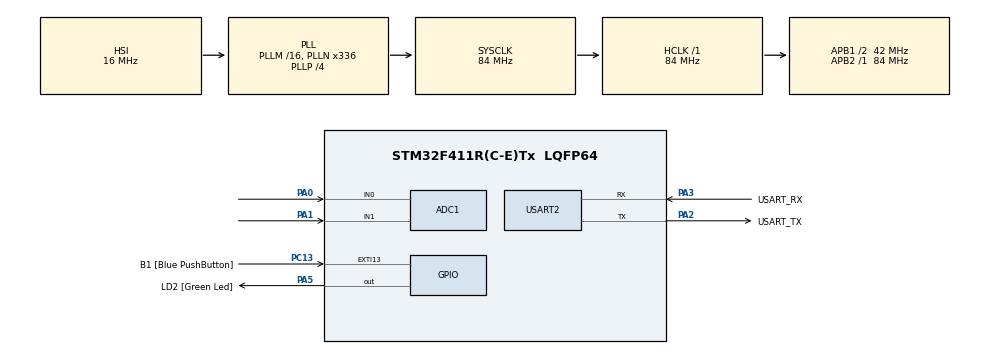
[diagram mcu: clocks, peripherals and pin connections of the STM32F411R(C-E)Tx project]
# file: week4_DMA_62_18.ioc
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ADC1.Channel-0\#ChannelRegularConversion=ADC_CHANNEL_0
ADC1.Channel-1\#ChannelRegularConversion=ADC_CHANNEL_1
ADC1.Channel-2\#ChannelRegularConversion=ADC_CHANNEL_TEMPSENSOR
ADC1.Channel-3\#ChannelRegularConversion=ADC_CHANNEL_VREFINT
ADC1.ContinuousConvMode=ENABLE
ADC1.DMAContinuousRequests=ENABLE
ADC1.NbrOfConversion=4
ADC1.NbrOfConversionFlag=1
ADC1.Rank-0\#ChannelRegularConversion=1
ADC1.Rank-1\#ChannelRegularConversion=2
ADC1.Rank-2\#ChannelRegularConversion=3
ADC1.Rank-3\#ChannelRegularConversion=4
ADC1.SamplingTime-0\#ChannelRegularConversion=ADC_SAMPLETIME_28CYCLES
ADC1.SamplingTime-1\#ChannelRegularConversion=ADC_SAMPLETIME_28CYCLES
ADC1.SamplingTime-2\#ChannelRegularConversion=ADC_SAMPLETIME_28CYCLES
ADC1.SamplingTime-3\#ChannelRegularConversion=ADC_SAMPLETIME_28CYCLES
ADC1.ScanConvMode=ENABLE
ADC1.master=1
Dma.ADC1.0.Direction=DMA_PERIPH_TO_MEMORY
Dma.ADC1.0.FIFOMode=DMA_FIFOMODE_DISABLE
Dma.ADC1.0.Instance=DMA2_Stream0
Dma.ADC1.0.MemDataAlignment=DMA_MDATAALIGN_WORD
Dma.ADC1.0.MemInc=DMA_MINC_ENABLE
Dma.ADC1.0.Mode=DMA_CIRCULAR
Dma.ADC1.0.PeriphDataAlignment=DMA_PDATAALIGN_WORD
Dma.ADC1.0.PeriphInc=DMA_PINC_DISABLE
Dma.ADC1.0.Priority=DMA_PRIORITY_LOW
Dma.Request0=ADC1
Mcu.Family=STM32F4
Mcu.Name=STM32F411R(C-E)Tx
Mcu.Package=LQFP64
NVIC.DMA2_Stream0_IRQn=true\:0\:0\:false\:false\:true\:false\:true
NVIC.EXTI15_10_IRQn=true\:0\:0\:false\:false\:true\:true\:true
NVIC.PriorityGroup=NVIC_PRIORITYGROUP_0
PA0-WKUP.Signal=ADCx_IN0
PA1.Signal=ADCx_IN1
PA13.GPIO_Label=TMS
PA13.Mode=Serial_Wire
PA13.Signal=SYS_JTMS-SWDIO
PA14.GPIO_Label=TCK
PA14.Mode=Serial_Wire
PA14.Signal=SYS_JTCK-SWCLK
PA2.GPIO_Label=USART_TX
PA2.Mode=Asynchronous
PA2.Signal=USART2_TX
PA3.GPIO_Label=USART_RX
PA3.Mode=Asynchronous
PA3.Signal=USART2_RX
PA5.GPIO_Label=LD2 [Green Led]
PA5.Signal=GPIO_Output
PB3.GPIO_Label=SWO
PB3.Signal=SYS_JTDO-SWO
PC13-ANTI_TAMP.GPIO_Label=B1 [Blue PushButton]
PC13-ANTI_TAMP.GPIO_ModeDefaultEXTI=GPIO_MODE_IT_RISING_FALLING
PC13-ANTI_TAMP.GPIO_PuPd=GPIO_PULLUP
PC13-ANTI_TAMP.Signal=GPXTI13
PC14-OSC32_IN.Mode=LSE-External-Oscillator
PC14-OSC32_IN.Signal=RCC_OSC32_IN
PC15-OSC32_OUT.Mode=LSE-External-Oscillator
PC15-OSC32_OUT.Signal=RCC_OSC32_OUT
PH0\ -\ OSC_IN.Mode=HSE-External-Clock-Source
PH0\ -\ OSC_IN.Signal=RCC_OSC_IN
PH1\ -\ OSC_OUT.Mode=HSE-External-Clock-Source
PH1\ -\ OSC_OUT.Signal=RCC_OSC_OUT
ProjectManager.HeapSize=0x200
ProjectManager.StackSize=0x400
ProjectManager.TargetToolchain=STM32CubeIDE
RCC.48MHZClocksFreq_Value=84000000
RCC.AHBFreq_Value=84000000
RCC.APB1CLKDivider=RCC_HCLK_DIV2
RCC.APB1Freq_Value=42000000
RCC.APB1TimFreq_Value=84000000
RCC.APB2Freq_Value=84000000
RCC.APB2TimFreq_Value=84000000
RCC.CortexFreq_Value=84000000
RCC.FLatency-AdvancedSettings=FLASH_LATENCY_2
RCC.HCLKFreq_Value=84000000
RCC.HSE_VALUE=8000000
RCC.HSI_VALUE=16000000
RCC.PLLN=336
RCC.PLLP=RCC_PLLP_DIV4
RCC.SYSCLKFreq_VALUE=84000000
RCC.SYSCLKSource=RCC_SYSCLKSOURCE_PLLCLK
RCC.VCOOutputFreq_Value=336000000
SH.ADCx_IN0.0=ADC1_IN0,IN0
SH.ADCx_IN1.0=ADC1_IN1,IN1
USART2.VirtualMode=VM_ASYNC
VP_ADC1_TempSens_Input.Mode=IN-TempSens
VP_ADC1_Vref_Input.Mode=IN-Vrefint
board=NUCLEO-F411RE

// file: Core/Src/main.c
/* USER CODE BEGIN Header */
/**
  ******************************************************************************
  * @file           : main.c
  * @brief          : Main program body
  ******************************************************************************
  * @attention
  *
  * <h2><center>&copy; Copyright (c) 2021 STMicroelectronics.
  * All rights reserved.</center></h2>
  *
  * This software component is licensed by ST under BSD 3-Clause license,
  * the "License"; You may not use this file except in compliance with the
  * License. You may obtain a copy of the License at:
  *                        opensource.org/licenses/BSD-3-Clause
  *
  ******************************************************************************
  */
/* USER CODE END Header */
#include "main.h"

ADC_HandleTypeDef hadc1;
DMA_HandleTypeDef hdma_adc1;

UART_HandleTypeDef huart2;

/* USER CODE BEGIN PV */
uint32_t ADCData[4]={0};
uint8_t PressButton = 0;
uint32_t Random = 0;
uint32_t TimePushButton = 0;
uint32_t TimePing = 0;
uint32_t TimeStamp = 0;
uint32_t TimeRespond = 0;
uint8_t i = 0;
/* USER CODE END PV */

void SystemClock_Config(void);
static void MX_GPIO_Init(void);
static void MX_DMA_Init(void);
static void MX_USART2_UART_Init(void);
static void MX_ADC1_Init(void);

int main(void)
{

  /* MCU Configuration--------------------------------------------------------*/

  /* Reset of all peripherals, Initializes the Flash interface and the Systick. */
  HAL_Init();

  /* Configure the system clock */
  SystemClock_Config();

  /* Initialize all configured peripherals */
  MX_GPIO_Init();
  MX_DMA_Init();
  MX_USART2_UART_Init();
  MX_ADC1_Init();
  /* USER CODE BEGIN 2 */
  HAL_ADC_Start_DMA(&hadc1, ADCData, 4);
  HAL_GPIO_WritePin(LD2_GPIO_Port, LD2_Pin, 1);
  /* USER CODE END 2 */

  /* Infinite loop */
  while (1)
  {

	  if(PressButton == 0)
	  {
		  HAL_GPIO_WritePin(LD2_GPIO_Port, LD2_Pin, 1);
	  }
	  else if(PressButton == 1)
	  {
		  HAL_GPIO_WritePin(LD2_GPIO_Port, LD2_Pin, 0);
		  if(i == 1)
		  {
			  if((HAL_GetTick() - TimePushButton) >= Random)
				  {
					  HAL_GPIO_WritePin(LD2_GPIO_Port, LD2_Pin, 1);
					  TimePing = HAL_GetTick();
					  i += 1;
				  }
		  }
		  else
		  {
			 HAL_GPIO_WritePin(LD2_GPIO_Port, LD2_Pin, 1);
		  }

	  }
	  else
	  {
		  PressButton = 0;
	  }

  }
}

void SystemClock_Config(void)
{
  RCC_OscInitTypeDef RCC_OscInitStruct = {0};
  RCC_ClkInitTypeDef RCC_ClkInitStruct = {0};

  /** Configure the main internal regulator output voltage
  */
  __HAL_RCC_PWR_CLK_ENABLE();
  __HAL_PWR_VOLTAGESCALING_CONFIG(PWR_REGULATOR_VOLTAGE_SCALE1);
  /** Initializes the RCC Oscillators according to the specified parameters
  * in the RCC_OscInitTypeDef structure.
  */
  RCC_OscInitStruct.OscillatorType = RCC_OSCILLATORTYPE_HSI;
  RCC_OscInitStruct.HSIState = RCC_HSI_ON;
  RCC_OscInitStruct.HSICalibrationValue = RCC_HSICALIBRATION_DEFAULT;
  RCC_OscInitStruct.PLL.PLLState = RCC_PLL_ON;
  RCC_OscInitStruct.PLL.PLLSource = RCC_PLLSOURCE_HSI;
  RCC_OscInitStruct.PLL.PLLM = 16;
  RCC_OscInitStruct.PLL.PLLN = 336;
  RCC_OscInitStruct.PLL.PLLP = RCC_PLLP_DIV4;
  RCC_OscInitStruct.PLL.PLLQ = 4;
  if (HAL_RCC_OscConfig(&RCC_OscInitStruct) != HAL_OK)
  {
    Error_Handler();
  }
  /** Initializes the CPU, AHB and APB buses clocks
  */
  RCC_ClkInitStruct.ClockType = RCC_CLOCKTYPE_HCLK|RCC_CLOCKTYPE_SYSCLK
                              |RCC_CLOCKTYPE_PCLK1|RCC_CLOCKTYPE_PCLK2;
  RCC_ClkInitStruct.SYSCLKSource = RCC_SYSCLKSOURCE_PLLCLK;
  RCC_ClkInitStruct.AHBCLKDivider = RCC_SYSCLK_DIV1;
  RCC_ClkInitStruct.APB1CLKDivider = RCC_HCLK_DIV2;
  RCC_ClkInitStruct.APB2CLKDivider = RCC_HCLK_DIV1;

  if (HAL_RCC_ClockConfig(&RCC_ClkInitStruct, FLASH_LATENCY_2) != HAL_OK)
  {
    Error_Handler();
  }
}

static void MX_ADC1_Init(void)
{

  ADC_ChannelConfTypeDef sConfig = {0};

  /** Configure the global features of the ADC (Clock, Resolution, Data Alignment and number of conversion)
  */
  hadc1.Instance = ADC1;
  hadc1.Init.ClockPrescaler = ADC_CLOCK_SYNC_PCLK_DIV4;
  hadc1.Init.Resolution = ADC_RESOLUTION_12B;
  hadc1.Init.ScanConvMode = ENABLE;
  hadc1.Init.ContinuousConvMode = ENABLE;
  hadc1.Init.DiscontinuousConvMode = DISABLE;
  hadc1.Init.ExternalTrigConvEdge = ADC_EXTERNALTRIGCONVEDGE_NONE;
  hadc1.Init.ExternalTrigConv = ADC_SOFTWARE_START;
  hadc1.Init.DataAlign = ADC_DATAALIGN_RIGHT;
  hadc1.Init.NbrOfConversion = 4;
  hadc1.Init.DMAContinuousRequests = ENABLE;
  hadc1.Init.EOCSelection = ADC_EOC_SINGLE_CONV;
  if (HAL_ADC_Init(&hadc1) != HAL_OK)
  {
    Error_Handler();
  }
  /** Configure for the selected ADC regular channel its corresponding rank in the sequencer and its sample time.
  */
  sConfig.Channel = ADC_CHANNEL_0;
  sConfig.Rank = 1;
  sConfig.SamplingTime = ADC_SAMPLETIME_28CYCLES;
  if (HAL_ADC_ConfigChannel(&hadc1, &sConfig) != HAL_OK)
  {
    Error_Handler();
  }
  /** Configure for the selected ADC regular channel its corresponding rank in the sequencer and its sample time.
  */
  sConfig.Channel = ADC_CHANNEL_1;
  sConfig.Rank = 2;
  if (HAL_ADC_ConfigChannel(&hadc1, &sConfig) != HAL_OK)
  {
    Error_Handler();
  }
  /** Configure for the selected ADC regular channel its corresponding rank in the sequencer and its sample time.
  */
  sConfig.Channel = ADC_CHANNEL_TEMPSENSOR;
  sConfig.Rank = 3;
  if (HAL_ADC_ConfigChannel(&hadc1, &sConfig) != HAL_OK)
  {
    Error_Handler();
  }
  /** Configure for the selected ADC regular channel its corresponding rank in the sequencer and its sample time.
  */
  sConfig.Channel = ADC_CHANNEL_VREFINT;
  sConfig.Rank = 4;
  if (HAL_ADC_ConfigChannel(&hadc1, &sConfig) != HAL_OK)
  {
    Error_Handler();
  }

}

static void MX_USART2_UART_Init(void)
{

  huart2.Instance = USART2;
  huart2.Init.BaudRate = 115200;
  huart2.Init.WordLength = UART_WORDLENGTH_8B;
  huart2.Init.StopBits = UART_STOPBITS_1;
  huart2.Init.Parity = UART_PARITY_NONE;
  huart2.Init.Mode = UART_MODE_TX_RX;
  huart2.Init.HwFlowCtl = UART_HWCONTROL_NONE;
  huart2.Init.OverSampling = UART_OVERSAMPLING_16;
  if (HAL_UART_Init(&huart2) != HAL_OK)
  {
    Error_Handler();
  }

}

static void MX_DMA_Init(void)
{

  /* DMA controller clock enable */
  __HAL_RCC_DMA2_CLK_ENABLE();

  /* DMA interrupt init */
  /* DMA2_Stream0_IRQn interrupt configuration */
  HAL_NVIC_SetPriority(DMA2_Stream0_IRQn, 0, 0);
  HAL_NVIC_EnableIRQ(DMA2_Stream0_IRQn);

}

static void MX_GPIO_Init(void)
{
  GPIO_InitTypeDef GPIO_InitStruct = {0};

  /* GPIO Ports Clock Enable */
  __HAL_RCC_GPIOC_CLK_ENABLE();
  __HAL_RCC_GPIOH_CLK_ENABLE();
  __HAL_RCC_GPIOA_CLK_ENABLE();
  __HAL_RCC_GPIOB_CLK_ENABLE();

  /*Configure GPIO pin Output Level */
  HAL_GPIO_WritePin(LD2_GPIO_Port, LD2_Pin, GPIO_PIN_RESET);

  /*Configure GPIO pin : B1_Pin */
  GPIO_InitStruct.Pin = B1_Pin;
  GPIO_InitStruct.Mode = GPIO_MODE_IT_RISING_FALLING;
  GPIO_InitStruct.Pull = GPIO_PULLUP;
  HAL_GPIO_Init(B1_GPIO_Port, &GPIO_InitStruct);

  /*Configure GPIO pin : LD2_Pin */
  GPIO_InitStruct.Pin = LD2_Pin;
  GPIO_InitStruct.Mode = GPIO_MODE_OUTPUT_PP;
  GPIO_InitStruct.Pull = GPIO_NOPULL;
  GPIO_InitStruct.Speed = GPIO_SPEED_FREQ_LOW;
  HAL_GPIO_Init(LD2_GPIO_Port, &GPIO_InitStruct);

  /* EXTI interrupt init*/
  HAL_NVIC_SetPriority(EXTI15_10_IRQn, 0, 0);
  HAL_NVIC_EnableIRQ(EXTI15_10_IRQn);

}

/* USER CODE BEGIN 4 */
void HAL_GPIO_EXTI_Callback(uint16_t GPIO_Pin)
{
	if(GPIO_Pin == GPIO_PIN_13)
	{
		PressButton = (PressButton + 1) % 2;
		TimePushButton = HAL_GetTick();
		Random = 1000 + (((22695477 * ADCData[0]) + ADCData[1]) % 10000);
		TimeRespond = TimePushButton - TimePing;
		i = 1;
	}

//	test = 3;

}
/* USER CODE END 4 */

void Error_Handler(void)
{
  __disable_irq();
  while (1)
  {
  }
}

/************************ (C) COPYRIGHT STMicroelectronics *****END OF FILE****/
